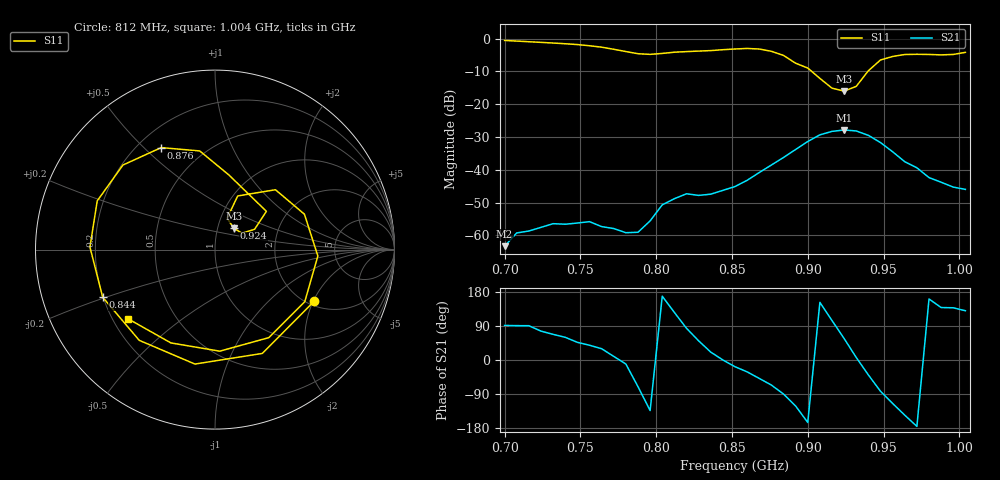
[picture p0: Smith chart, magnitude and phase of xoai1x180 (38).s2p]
# Hz S RI R 50
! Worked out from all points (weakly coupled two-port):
!   39 points, 700 MHz to 1.004 GHz, reference 50 ohm
!   highest |S21| = -27.86 dB at 924 MHz (marker M1); lowest = -63.3 dB at 700 MHz (marker M2)
!   lowest |S11| = -16.0 dB at 924 MHz (marker M3), VSWR 1.38, Z = 59.8 + j14.6 ohm
!   |S11| at or under -10 dB: 902.7 MHz to 939.6 MHz (36.95 MHz wide, 4.01 % of centre)
!   S12 and S22 are empty: the file has one direction only
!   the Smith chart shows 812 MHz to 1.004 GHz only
!   S11 on the Smith chart (normalised r, x): 812 MHz: 2.15, -2.03; 844 MHz: 0.20, -0.20; 876 MHz: 0.29, +0.56; 924 MHz: 1.20, +0.29; 1.004 GHz: 0.26, -0.33
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7e8  0.759 0.5553  -1.44e-05 0.000682  0 0  0 0
7.24e8  0.8438 -0.2455  0.000315 0.00128  0 0  0 0
7.4e8  0.4576 -0.7019  0.000741 0.00128  0 0  0 0
7.56e8  -0.1917 -0.7573  0.00126 0.00101  0 0  0 0
7.72e8  -0.6619 -0.1949  0.00125 0.00021  0 0  0 0
7.8e8  -0.5958 0.2252  0.00108 -0.000203  0 0  0 0
7.88e8  -0.2453 0.5366  0.000374 -0.00105  0 0  0 0
7.96e8  0.245 0.5221  -0.00114 -0.0012  0 0  0 0
8.04e8  0.5711 0.1711  -0.00285 0.000588  0 0  0 0
8.12e8  0.5513 -0.289  -0.0021 0.00294  0 0  0 0
8.28e8  -0.1118 -0.6377  0.00258 0.00314  0 0  0 0
8.44e8  -0.6258 -0.2652  0.00485 5.11e-06  0 0  0 0
8.52e8  -0.6968 0.014  0.00528 -0.00168  0 0  0 0
8.76e8  -0.2997 0.5683  0.00478 -0.0108  0 0  0 0
9e8  0.2864 0.2133  -0.0261 -0.00707  0 0  0 0
9.08e8  0.2207 0.1131  -0.0301 0.0159  0 0  0 0
9.24e8  0.1047 0.119  0.0222 0.0338  0 0  0 0
9.4e8  0.1266 0.2989  0.0259 -0.0213  0 0  0 0
9.56e8  0.4982 0.1972  -0.00787 -0.0171  0 0  0 0
9.64e8  0.5731 -0.0355  -0.0109 -0.00749  0 0  0 0
9.8e8  0.2997 -0.4905  -0.00718 0.00246  0 0  0 0
1.004e9  -0.4843 -0.3855  -0.00322 0.00384  0 0  0 0
